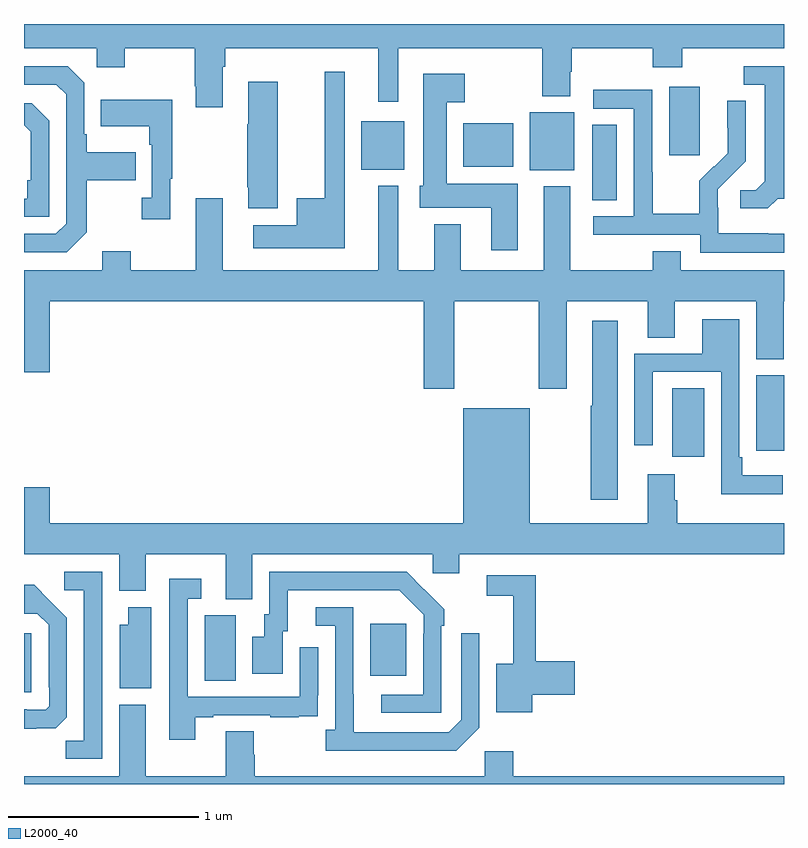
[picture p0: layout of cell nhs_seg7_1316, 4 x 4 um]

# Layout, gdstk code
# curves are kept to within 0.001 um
import gdstk
lib = gdstk.Library(unit=1e-6, precision=1e-09)
def R(c, l, rs):  # rectangles x0, y0, x1, y1
    for r in rs: c.add(gdstk.rectangle(r[:2], r[2:], *l))
def P(c, l, *ps):  # polygons
    for p in ps: c.add(gdstk.Polygon(p, *l))
L2000_40 = (2000, 40)

nhs_seg7_1316 = lib.new_cell('nhs_seg7_1316')
R(nhs_seg7_1316, L2000_40, [(201,1074.483,201.039,1074.793), (201.95,1074.544,202.114,1074.888), (202.823,1074.569,203.011,1074.844), (204.413,1075.722,204.58,1076.084), (203.99,1077.073,204.121,1077.47), (203.663,1077.23,203.896,1077.535), (202.775,1077.233,203.002,1077.487), (203.312,1077.248,203.575,1077.478), (204.395,1077.309,204.556,1077.67)])
P(nhs_seg7_1316, L2000_40, [(202.045,1077.776),(202.058,1077.776),(202.058,1077.872),(202.865,1077.872),(202.865,1077.591),(202.969,1077.591),(202.969,1077.872),(203.728,1077.872),(203.728,1077.62),(203.875,1077.62),(203.875,1077.748),(203.883,1077.748),(203.883,1077.872),(204.31,1077.872),(204.31,1077.773),(204.465,1077.773),(204.465,1077.872),(205,1077.872),(205,1078),(201,1078),(201,1077.872),(201.384,1077.872),(201.384,1077.773),(201.531,1077.773),(201.531,1077.872),(201.898,1077.872),(201.898,1077.673),(201.905,1077.673),(201.905,1077.561),(202.045,1077.561)],
  [(204.966,1077.081),(205,1077.081),(205,1077.777),(204.789,1077.777),(204.789,1077.681),(204.899,1077.681),(204.899,1077.173),(204.852,1077.126),(204.771,1077.126),(204.771,1077.029),(204.914,1077.029)],
  [(201.331,1076.905),(201.331,1077.178),(201.587,1077.178),(201.587,1077.325),(201.331,1077.325),(201.331,1077.421),(201.318,1077.421),(201.318,1077.69),(201.231,1077.777),(201,1077.777),(201,1077.681),(201.171,1077.681),(201.222,1077.63),(201.222,1076.949),(201.168,1076.895),(201,1076.895),(201,1076.799),(201.225,1076.799)],
  [(202.687,1077.748),(202.583,1077.748),(202.583,1077.082),(202.436,1077.082),(202.436,1076.941),(202.206,1076.941),(202.206,1076.819),(202.687,1076.819)],
  [(203.599,1077.16),(203.224,1077.16),(203.224,1077.587),(203.32,1077.587),(203.32,1077.739),(203.102,1077.739),(203.102,1077.15),(203.084,1077.15),(203.084,1077.032),(203.459,1077.032),(203.459,1076.808),(203.599,1076.808)],
  [(202.336,1077.697),(202.181,1077.697),(202.181,1077.473),(202.174,1077.473),(202.174,1077.142),(202.181,1077.142),(202.181,1077.03),(202.336,1077.03)],
  [(205,1076.895),(204.917,1076.895),(204.917,1076.899),(204.654,1076.899),(204.654,1077.033),(204.652,1077.033),(204.652,1077.13),(204.798,1077.278),(204.798,1077.596),(204.701,1077.596),(204.701,1077.455),(204.704,1077.455),(204.704,1077.32),(204.633,1077.249),(204.63,1077.252),(204.553,1077.175),(204.553,1077.001),(204.309,1077.001),(204.309,1077.221),(204.306,1077.221),(204.306,1077.654),(203.997,1077.654),(203.997,1077.555),(204.21,1077.555),(204.21,1076.988),(203.997,1076.988),(203.997,1076.892),(204.558,1076.892),(204.558,1076.795),(205,1076.795)],
  [(201.769,1077.185),(201.781,1077.185),(201.781,1077.601),(201.403,1077.601),(201.403,1077.461),(201.66,1077.461),(201.66,1077.365),(201.672,1077.365),(201.672,1077.086),(201.621,1077.086),(201.621,1076.973),(201.769,1076.973)],
  [(201.132,1077.492),(201.042,1077.582),(201,1077.582),(201,1077.468),(201.036,1077.432),(201.036,1077.178),(201.016,1077.178),(201.016,1077.081),(201,1077.081),(201,1076.985),(201.132,1076.985)],
  [(203.265,1076.54),(203.71,1076.54),(203.71,1076.079),(203.857,1076.079),(203.857,1076.54),(204.284,1076.54),(204.284,1076.35),(204.424,1076.35),(204.424,1076.54),(204.854,1076.54),(204.854,1076.236),(204.998,1076.236),(204.998,1076.54),(205,1076.54),(205,1076.704),(204.457,1076.704),(204.457,1076.803),(204.31,1076.803),(204.31,1076.704),(203.875,1076.704),(203.875,1077.145),(203.735,1077.145),(203.735,1076.704),(203.299,1076.704),(203.299,1076.947),(203.159,1076.947),(203.159,1076.704),(202.969,1076.704),(202.969,1077.148),(202.865,1077.148),(202.865,1076.704),(202.045,1076.704),(202.045,1077.082),(201.905,1077.082),(201.905,1076.704),(201.561,1076.704),(201.561,1076.803),(201.413,1076.803),(201.413,1076.704),(201,1076.704),(201,1076.166),(201.136,1076.166),(201.136,1076.54),(203.105,1076.54),(203.105,1076.079),(203.265,1076.079)],
  [(204.994,1075.624),(204.781,1075.624),(204.781,1075.72),(204.765,1075.72),(204.765,1076.446),(204.569,1076.446),(204.569,1076.265),(204.213,1076.265),(204.213,1075.782),(204.309,1075.782),(204.309,1076.169),(204.669,1076.169),(204.669,1075.526),(204.994,1075.526)],
  [(204.124,1076.437),(203.99,1076.437),(203.99,1075.991),(203.983,1075.991),(203.983,1075.497),(204.124,1075.497)],
  [(205,1076.151),(204.854,1076.151),(204.854,1075.867),(204.855,1075.867),(204.855,1075.755),(205,1075.755)],
  [(202.201,1075.208),(203.151,1075.208),(203.151,1075.11),(203.29,1075.11),(203.29,1075.208),(205,1075.208),(205,1075.372),(204.437,1075.372),(204.437,1075.493),(204.424,1075.493),(204.424,1075.63),(204.284,1075.63),(204.284,1075.372),(203.662,1075.372),(203.662,1075.978),(203.312,1075.978),(203.312,1075.372),(201.136,1075.372),(201.136,1075.561),(201,1075.561),(201,1075.208),(201.5,1075.208),(201.5,1075.016),(201.64,1075.016),(201.64,1075.208),(202.061,1075.208),(202.061,1074.973),(202.201,1074.973)],
  [(201.411,1075.116),(201.213,1075.116),(201.213,1075.02),(201.315,1075.02),(201.315,1074.227),(201.22,1074.227),(201.22,1074.132),(201.411,1074.132)],
  [(203.196,1074.833),(203.211,1074.833),(203.211,1074.921),(203.014,1075.116),(202.29,1075.116),(202.29,1074.894),(202.265,1074.894),(202.265,1074.775),(202.202,1074.775),(202.202,1074.579),(202.363,1074.579),(202.363,1074.804),(202.387,1074.804),(202.387,1075.02),(202.975,1075.02),(203.103,1074.891),(203.103,1074.791),(203.1,1074.791),(203.1,1074.471),(202.881,1074.471),(202.881,1074.375),(203.196,1074.375)],
  [(203.674,1074.469),(203.899,1074.469),(203.899,1074.647),(203.693,1074.647),(203.693,1075.098),(203.436,1075.098),(203.436,1074.99),(203.576,1074.99),(203.576,1074.634),(203.486,1074.634),(203.486,1074.377),(203.674,1074.377)],
  [(201.901,1074.351),(201.997,1074.351),(201.997,1074.363),(202.297,1074.363),(202.297,1074.351),(202.445,1074.351),(202.445,1074.357),(202.547,1074.357),(202.547,1074.466),(202.548,1074.466),(202.548,1074.721),(202.452,1074.721),(202.452,1074.459),(201.861,1074.459),(201.861,1074.975),(201.934,1074.975),(201.934,1075.081),(201.765,1075.081),(201.765,1074.234),(201.901,1074.234)],
  [(201.065,1074.293),(201.166,1074.293),(201.225,1074.352),(201.225,1074.874),(201.053,1075.048),(201,1075.048),(201,1074.897),(201.069,1074.897),(201.129,1074.837),(201.129,1074.508),(201.132,1074.508),(201.132,1074.408),(201.114,1074.39),(201.014,1074.39),(201.014,1074.393),(201,1074.393),(201,1074.292)],
  [(201.67,1074.931),(201.548,1074.931),(201.548,1074.838),(201.503,1074.838),(201.503,1074.503),(201.67,1074.503)],
  [(203.397,1074.297),(203.397,1074.793),(203.301,1074.793),(203.301,1074.339),(203.235,1074.273),(202.735,1074.273),(202.734,1074.93),(202.536,1074.93),(202.536,1074.834),(202.638,1074.834),(202.638,1074.286),(202.587,1074.286),(202.587,1074.176),(203.276,1074.176)],
  [(205,1074.04),(203.576,1074.04),(203.576,1074.172),(203.424,1074.172),(203.424,1074.04),(202.214,1074.04),(202.214,1074.153),(202.209,1074.153),(202.209,1074.278),(202.061,1074.278),(202.061,1074.04),(201.64,1074.04),(201.64,1074.418),(201.5,1074.418),(201.5,1074.04),(201,1074.04),(201,1074),(205,1074)])

lib.write_gds('nhs_seg7_1316.gds')
